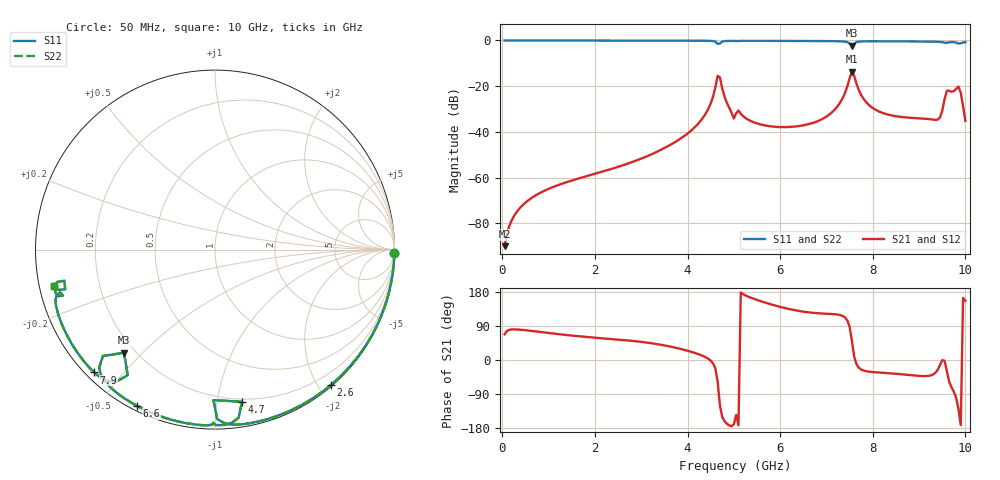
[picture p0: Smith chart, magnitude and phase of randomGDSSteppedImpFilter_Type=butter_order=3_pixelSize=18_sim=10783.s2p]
! freq	dB(S11)	phase(S11)	dB(S12)	phase(S12)
!  dB(S21)	phase(S21)	dB(S22)	phase(S22)
!S-par simulation data
#  GHz  S  DB  R 50
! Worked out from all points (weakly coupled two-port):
!   200 points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, 50 MHz to 10 GHz, reference 50 ohm
!   highest |S21| = -13.69 dB at 7.55 GHz (marker M1); lowest = -90.0 dB at 50 MHz (marker M2)
!   lowest |S11| = -2.3 dB at 7.55 GHz (marker M3), VSWR 7.57, Z = 7.92 - j22.1 ohm
!   |S11| at or under -10 dB: nowhere
!   |S22| runs from -2.3 to 0.0 dB; largest |S21 - S12| = 0
!   S11 on the Smith chart (normalised r, x): 50 MHz: open; 2.6 GHz: 0.02, -2.18; 4.7 GHz: 0.18, -1.18; 6.6 GHz: 0.02, -0.62; 7.9 GHz: 0.02, -0.42; 10 GHz: 0.04, -0.11
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0.05  -0.00 -1.0  -90.05 67.8  -90.05 67.8  -0.00 -1.0
0.75  -0.02 -14.5  -67.46 75.0  -67.46 75.0  -0.02 -14.5
1.75  -0.04 -33.6  -59.81 61.5  -59.81 61.5  -0.04 -33.6
2.6  -0.06 -49.3  -54.68 52.9  -54.68 52.9  -0.06 -49.3
3.4  -0.08 -63.8  -48.13 40.7  -48.13 40.7  -0.08 -63.8
4.25  -0.12 -79.2  -35.96 14.7  -35.96 14.7  -0.12 -79.2
4.5  -0.19 -85.0  -27.59 -1.6  -27.59 -1.6  -0.19 -85.0
4.65  -1.53 -90.6  -15.49 -56.6  -15.49 -56.6  -1.52 -90.6
4.7  -1.31 -79.9  -16.19 -121.2  -16.19 -121.2  -1.30 -80.0
5  -0.20 -89.8  -34.17 -169.9  -34.17 -169.9  -0.20 -89.8
5.05  -0.31 -90.6  -31.88 -145.1  -31.88 -145.1  -0.31 -90.6
5.75  -0.18 -102.6  -37.47 148.7  -37.47 148.7  -0.18 -102.6
6.6  -0.24 -116.6  -36.68 126.0  -36.68 126.0  -0.24 -116.6
6.7  -0.25 -118.3  -36.16 124.5  -36.16 124.5  -0.25 -118.3
7.25  -0.34 -128.4  -28.51 119.8  -28.51 119.8  -0.34 -128.4
7.55  -2.31 -131.4  -13.69 49.8  -13.69 49.8  -2.31 -131.4
7.9  -0.36 -134.5  -27.92 -30.5  -27.92 -30.5  -0.36 -134.5
8.35  -0.38 -142.8  -32.56 -34.9  -32.56 -34.9  -0.38 -142.8
9.4  -0.58 -161.6  -34.67 -26.4  -34.67 -26.4  -0.58 -161.6
9.6  -1.07 -163.2  -22.02 -30.1  -22.02 -30.1  -1.06 -163.2
9.85  -1.35 -168.3  -20.18 -129.6  -20.18 -129.6  -1.35 -168.4
10  -0.72 -167.2  -35.22 156.3  -35.22 156.3  -0.72 -167.2
